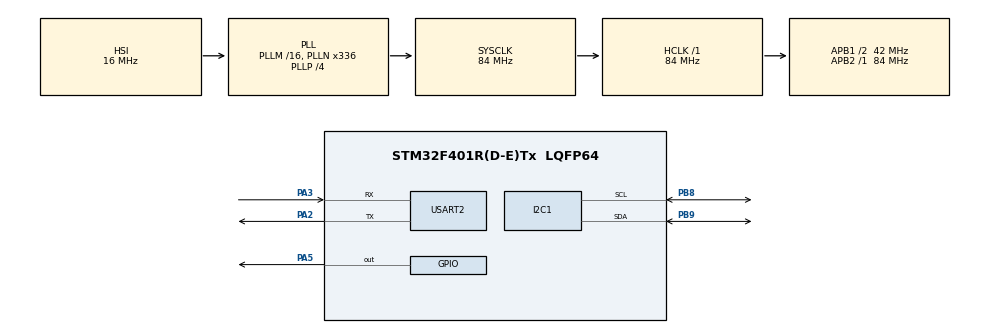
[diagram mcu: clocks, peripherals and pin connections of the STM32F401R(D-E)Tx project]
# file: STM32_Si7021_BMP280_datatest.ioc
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Mcu.Family=STM32F4
Mcu.Name=STM32F401R(D-E)Tx
Mcu.Package=LQFP64
NVIC.PriorityGroup=NVIC_PRIORITYGROUP_0
PA2.Mode=Asynchronous
PA2.Signal=USART2_TX
PA3.Mode=Asynchronous
PA3.Signal=USART2_RX
PA5.Signal=GPIO_Output
PB8.Mode=I2C
PB8.Signal=I2C1_SCL
PB9.Mode=I2C
PB9.Signal=I2C1_SDA
ProjectManager.HeapSize=0x200
ProjectManager.StackSize=0x400
ProjectManager.TargetToolchain=MDK-ARM V5
RCC.48MHZClocksFreq_Value=48000000
RCC.AHBFreq_Value=84000000
RCC.APB1CLKDivider=RCC_HCLK_DIV2
RCC.APB1Freq_Value=42000000
RCC.APB1TimFreq_Value=84000000
RCC.APB2Freq_Value=84000000
RCC.APB2TimFreq_Value=84000000
RCC.CortexFreq_Value=84000000
RCC.HCLKFreq_Value=84000000
RCC.HSE_VALUE=8000000
RCC.HSI_VALUE=16000000
RCC.PLLN=336
RCC.PLLP=RCC_PLLP_DIV4
RCC.PLLQ=7
RCC.SYSCLKFreq_VALUE=84000000
RCC.SYSCLKSource=RCC_SYSCLKSOURCE_PLLCLK
RCC.VCOOutputFreq_Value=336000000
USART2.VirtualMode=VM_ASYNC
board=NUCLEO-F401RE

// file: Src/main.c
/* USER CODE BEGIN Header */
/**
  ******************************************************************************
  * @file           : main.c
  * @brief          : Main program body
  ******************************************************************************
  ** This notice applies to any and all portions of this file
  * that are not between comment pairs USER CODE BEGIN and
  * USER CODE END. Other portions of this file, whether
  * inserted by the user or by software development tools
  * are owned by their respective copyright owners.
  *
  * COPYRIGHT(c) 2018 STMicroelectronics
  *
  * Redistribution and use in source and binary forms, with or without modification,
  * are permitted provided that the following conditions are met:
  *   1. Redistributions of source code must retain the above copyright notice,
  *      this list of conditions and the following disclaimer.
  *   2. Redistributions in binary form must reproduce the above copyright notice,
  *      this list of conditions and the following disclaimer in the documentation
  *      and/or other materials provided with the distribution.
  *   3. Neither the name of STMicroelectronics nor the names of its contributors
  *      may be used to endorse or promote products derived from this software
  *      without specific prior written permission.
  *
  * THIS SOFTWARE IS PROVIDED BY THE COPYRIGHT HOLDERS AND CONTRIBUTORS "AS IS"
  * AND ANY EXPRESS OR IMPLIED WARRANTIES, INCLUDING, BUT NOT LIMITED TO, THE
  * IMPLIED WARRANTIES OF MERCHANTABILITY AND FITNESS FOR A PARTICULAR PURPOSE ARE
  * DISCLAIMED. IN NO EVENT SHALL THE COPYRIGHT HOLDER OR CONTRIBUTORS BE LIABLE
  * FOR ANY DIRECT, INDIRECT, INCIDENTAL, SPECIAL, EXEMPLARY, OR CONSEQUENTIAL
  * DAMAGES (INCLUDING, BUT NOT LIMITED TO, PROCUREMENT OF SUBSTITUTE GOODS OR
  * SERVICES; LOSS OF USE, DATA, OR PROFITS; OR BUSINESS INTERRUPTION) HOWEVER
  * CAUSED AND ON ANY THEORY OF LIABILITY, WHETHER IN CONTRACT, STRICT LIABILITY,
  * OR TORT (INCLUDING NEGLIGENCE OR OTHERWISE) ARISING IN ANY WAY OUT OF THE USE
  * OF THIS SOFTWARE, EVEN IF ADVISED OF THE POSSIBILITY OF SUCH DAMAGE.
  *
  ******************************************************************************
  */
/* USER CODE END Header */

#include "main.h"

/* USER CODE BEGIN Includes */

#include <Si7021/Si7021_driver.h>
#include <BMP280/BMP280_driver.h>

/* USER CODE END Includes */

I2C_HandleTypeDef hi2c1;

UART_HandleTypeDef huart2;

/* USER CODE BEGIN PV */

Si7021_Handle_t si7021;
BMP280_Handle_t bmp280;

float si7021_temperature, si7021_humidity;
float bmp280_pressure, bmp280_temperature, bmp280_humidity;

uint16_t size;
uint8_t Data[256];

/* USER CODE END PV */

void SystemClock_Config(void);
static void MX_GPIO_Init(void);
static void MX_I2C1_Init(void);
static void MX_USART2_UART_Init(void);

int main(void)
{

  /* MCU Configuration--------------------------------------------------------*/

  /* Reset of all peripherals, Initializes the Flash interface and the Systick. */
  HAL_Init();

  /* Configure the system clock */
  SystemClock_Config();

  /* Initialize all configured peripherals */
  MX_GPIO_Init();
  MX_I2C1_Init();
  MX_USART2_UART_Init();
  /* USER CODE BEGIN 2 */

	BMP280_init_default_params(&bmp280.params);
	bmp280.addr = BMP280_I2C_ADDR_0;
	bmp280.i2c = &hi2c1;

	si7021.i2c = &hi2c1;

	while (!BMP280_init(&bmp280, &bmp280.params))
	{
		size = sprintf((char *)Data, "BMP280 initialization failed\r\n");
		HAL_UART_Transmit(&huart2, Data, size, 1000);
		HAL_Delay(2000);
	}
	bool bme280p = bmp280.id == BME280_CHIP_ID;
	size = sprintf((char *)Data, "BMP280: found %s\r\n", bme280p ? "BME280" : "BMP280");
	HAL_UART_Transmit(&huart2, Data, size, 1000);

  /* USER CODE END 2 */

  /* Infinite loop */
  while (1)
  {

    /* USER CODE BEGIN 3 */

		HAL_Delay(100);
		while (!Si7021_read_all_params(&si7021, &si7021_humidity, &si7021_temperature))
		{
			size = sprintf((char *)Data, "Si7021: Humidity/temperature reading failed\r\n");
			HAL_UART_Transmit(&huart2, Data, size, 1000);
			HAL_Delay(1000);
		}

		size = sprintf((char *)Data,"Si7021: Humidity: %.2f, Temperature: %.2f C\r\n", si7021_humidity, si7021_temperature);
		HAL_UART_Transmit(&huart2, Data, size, 1000);
		HAL_Delay(1000);

		HAL_Delay(100);
		while (!BMP280_read_all_params_float(&bmp280, &bmp280_temperature, &bmp280_pressure, &bmp280_humidity))
		{
			size = sprintf((char *)Data, "BMP280: Temperature/pressure reading failed\r\n");
			HAL_UART_Transmit(&huart2, Data, size, 1000);
			HAL_Delay(1000);
		}

		size = sprintf((char *)Data,"BMP280: Pressure: %.2f Pa, Temperature: %.2f C", bmp280_pressure, bmp280_temperature);
		HAL_UART_Transmit(&huart2, Data, size, 1000);
		if(bme280p)
		{
			size = sprintf((char *)Data,", Humidity: %.2f\r\n", bmp280_humidity);
			HAL_UART_Transmit(&huart2, Data, size, 1000);
		}
		else
		{
			size = sprintf((char *)Data, "\r\n");
			HAL_UART_Transmit(&huart2, Data, size, 1000);
		}
		HAL_Delay(1000);

  }
  /* USER CODE END 3 */
}

void SystemClock_Config(void)
{
  RCC_OscInitTypeDef RCC_OscInitStruct = {0};
  RCC_ClkInitTypeDef RCC_ClkInitStruct = {0};

  /**Configure the main internal regulator output voltage
  */
  __HAL_RCC_PWR_CLK_ENABLE();
  __HAL_PWR_VOLTAGESCALING_CONFIG(PWR_REGULATOR_VOLTAGE_SCALE2);
  /**Initializes the CPU, AHB and APB busses clocks
  */
  RCC_OscInitStruct.OscillatorType = RCC_OSCILLATORTYPE_HSI;
  RCC_OscInitStruct.HSIState = RCC_HSI_ON;
  RCC_OscInitStruct.HSICalibrationValue = RCC_HSICALIBRATION_DEFAULT;
  RCC_OscInitStruct.PLL.PLLState = RCC_PLL_ON;
  RCC_OscInitStruct.PLL.PLLSource = RCC_PLLSOURCE_HSI;
  RCC_OscInitStruct.PLL.PLLM = 16;
  RCC_OscInitStruct.PLL.PLLN = 336;
  RCC_OscInitStruct.PLL.PLLP = RCC_PLLP_DIV4;
  RCC_OscInitStruct.PLL.PLLQ = 7;
  if (HAL_RCC_OscConfig(&RCC_OscInitStruct) != HAL_OK)
  {
    Error_Handler();
  }
  /**Initializes the CPU, AHB and APB busses clocks
  */
  RCC_ClkInitStruct.ClockType = RCC_CLOCKTYPE_HCLK|RCC_CLOCKTYPE_SYSCLK
                              |RCC_CLOCKTYPE_PCLK1|RCC_CLOCKTYPE_PCLK2;
  RCC_ClkInitStruct.SYSCLKSource = RCC_SYSCLKSOURCE_PLLCLK;
  RCC_ClkInitStruct.AHBCLKDivider = RCC_SYSCLK_DIV1;
  RCC_ClkInitStruct.APB1CLKDivider = RCC_HCLK_DIV2;
  RCC_ClkInitStruct.APB2CLKDivider = RCC_HCLK_DIV1;

  if (HAL_RCC_ClockConfig(&RCC_ClkInitStruct, FLASH_LATENCY_2) != HAL_OK)
  {
    Error_Handler();
  }
}

static void MX_I2C1_Init(void)
{

  hi2c1.Instance = I2C1;
  hi2c1.Init.ClockSpeed = 100000;
  hi2c1.Init.DutyCycle = I2C_DUTYCYCLE_2;
  hi2c1.Init.OwnAddress1 = 0;
  hi2c1.Init.AddressingMode = I2C_ADDRESSINGMODE_7BIT;
  hi2c1.Init.DualAddressMode = I2C_DUALADDRESS_DISABLE;
  hi2c1.Init.OwnAddress2 = 0;
  hi2c1.Init.GeneralCallMode = I2C_GENERALCALL_DISABLE;
  hi2c1.Init.NoStretchMode = I2C_NOSTRETCH_DISABLE;
  if (HAL_I2C_Init(&hi2c1) != HAL_OK)
  {
    Error_Handler();
  }

}

static void MX_USART2_UART_Init(void)
{

  huart2.Instance = USART2;
  huart2.Init.BaudRate = 115200;
  huart2.Init.WordLength = UART_WORDLENGTH_8B;
  huart2.Init.StopBits = UART_STOPBITS_1;
  huart2.Init.Parity = UART_PARITY_NONE;
  huart2.Init.Mode = UART_MODE_TX_RX;
  huart2.Init.HwFlowCtl = UART_HWCONTROL_NONE;
  huart2.Init.OverSampling = UART_OVERSAMPLING_16;
  if (HAL_UART_Init(&huart2) != HAL_OK)
  {
    Error_Handler();
  }

}

static void MX_GPIO_Init(void)
{
  GPIO_InitTypeDef GPIO_InitStruct = {0};

  /* GPIO Ports Clock Enable */
  __HAL_RCC_GPIOA_CLK_ENABLE();
  __HAL_RCC_GPIOB_CLK_ENABLE();

  /*Configure GPIO pin Output Level */
  HAL_GPIO_WritePin(GPIOA, GPIO_PIN_5, GPIO_PIN_RESET);

  /*Configure GPIO pin : PA5 */
  GPIO_InitStruct.Pin = GPIO_PIN_5;
  GPIO_InitStruct.Mode = GPIO_MODE_OUTPUT_PP;
  GPIO_InitStruct.Pull = GPIO_NOPULL;
  GPIO_InitStruct.Speed = GPIO_SPEED_FREQ_LOW;
  HAL_GPIO_Init(GPIOA, &GPIO_InitStruct);

}

void Error_Handler(void)
{
}

/************************ (C) COPYRIGHT STMicroelectronics *****END OF FILE****/
